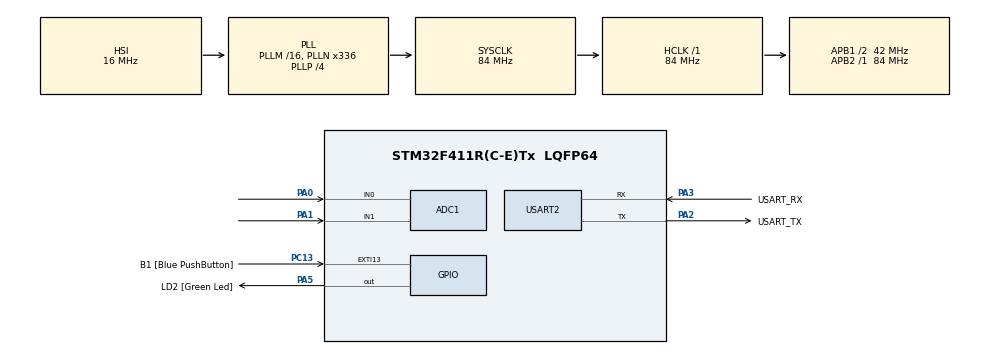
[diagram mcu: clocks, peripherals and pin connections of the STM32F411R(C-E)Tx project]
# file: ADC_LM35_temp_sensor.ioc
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ADC1.Channel-0\#ChannelRegularConversion=ADC_CHANNEL_0
ADC1.NbrOfConversionFlag=1
ADC1.Rank-0\#ChannelRegularConversion=1
ADC1.SamplingTime-0\#ChannelRegularConversion=ADC_SAMPLETIME_3CYCLES
ADC1.master=1
Mcu.Family=STM32F4
Mcu.Name=STM32F411R(C-E)Tx
Mcu.Package=LQFP64
NVIC.ADC_IRQn=true\:0\:0\:false\:false\:true\:true\:true\:true
NVIC.PriorityGroup=NVIC_PRIORITYGROUP_0
NVIC.TIM1_UP_TIM10_IRQn=true\:0\:0\:false\:false\:true\:true\:true\:true
NVIC.TIM2_IRQn=true\:0\:0\:false\:false\:true\:true\:true\:true
PA0-WKUP.Signal=ADCx_IN0
PA1.Signal=ADCx_IN1
PA13.GPIO_Label=TMS
PA13.Mode=Serial_Wire
PA13.Signal=SYS_JTMS-SWDIO
PA14.GPIO_Label=TCK
PA14.Mode=Serial_Wire
PA14.Signal=SYS_JTCK-SWCLK
PA2.GPIO_Label=USART_TX
PA2.Mode=Asynchronous
PA2.Signal=USART2_TX
PA3.GPIO_Label=USART_RX
PA3.Mode=Asynchronous
PA3.Signal=USART2_RX
PA5.GPIO_Label=LD2 [Green Led]
PA5.Signal=GPIO_Output
PB3.GPIO_Label=SWO
PB3.Signal=SYS_JTDO-SWO
PC13-ANTI_TAMP.GPIO_Label=B1 [Blue PushButton]
PC13-ANTI_TAMP.GPIO_ModeDefaultEXTI=GPIO_MODE_IT_FALLING
PC13-ANTI_TAMP.Signal=GPXTI13
PC14-OSC32_IN.Mode=LSE-External-Oscillator
PC14-OSC32_IN.Signal=RCC_OSC32_IN
PC15-OSC32_OUT.Mode=LSE-External-Oscillator
PC15-OSC32_OUT.Signal=RCC_OSC32_OUT
PH0\ -\ OSC_IN.Mode=HSE-External-Clock-Source
PH0\ -\ OSC_IN.Signal=RCC_OSC_IN
PH1\ -\ OSC_OUT.Mode=HSE-External-Clock-Source
PH1\ -\ OSC_OUT.Signal=RCC_OSC_OUT
ProjectManager.HeapSize=0x200
ProjectManager.StackSize=0x400
ProjectManager.TargetToolchain=STM32CubeIDE
RCC.48MHZClocksFreq_Value=84000000
RCC.AHBFreq_Value=84000000
RCC.APB1CLKDivider=RCC_HCLK_DIV2
RCC.APB1Freq_Value=42000000
RCC.APB1TimFreq_Value=84000000
RCC.APB2Freq_Value=84000000
RCC.APB2TimFreq_Value=84000000
RCC.CortexFreq_Value=84000000
RCC.FLatency-AdvancedSettings=FLASH_LATENCY_2
RCC.HCLKFreq_Value=84000000
RCC.HSE_VALUE=8000000
RCC.HSI_VALUE=16000000
RCC.PLLN=336
RCC.PLLP=RCC_PLLP_DIV4
RCC.SYSCLKFreq_VALUE=84000000
RCC.SYSCLKSource=RCC_SYSCLKSOURCE_PLLCLK
RCC.VCOOutputFreq_Value=336000000
SH.ADCx_IN0.0=ADC1_IN0,IN0
SH.ADCx_IN1.0=ADC1_IN1,IN1
TIM1.Period=10000
TIM1.Prescaler=41999
TIM2.Period=199999
TIM2.Prescaler=8399
USART2.VirtualMode=VM_ASYNC
VP_TIM1_VS_ClockSourceINT.Mode=Internal
VP_TIM2_VS_ClockSourceINT.Mode=Internal
board=NUCLEO-F411RE

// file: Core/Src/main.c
/* USER CODE BEGIN Header */
/**
  ******************************************************************************
  * @file           : main.c
  * @brief          : Main program body
  ******************************************************************************
  * @attention
  *
  * Copyright (c) 2025 STMicroelectronics.
  * All rights reserved.
  *
  * This software is licensed under terms that can be found in the LICENSE file
  * in the root directory of this software component.
  * If no LICENSE file comes with this software, it is provided AS-IS.
  *
  ******************************************************************************
  */
/* USER CODE END Header */
#include "main.h"

/* USER CODE BEGIN Includes */
#include <string.h>
#include <stdio.h>
/* USER CODE END Includes */

ADC_HandleTypeDef hadc1;

TIM_HandleTypeDef htim1;
TIM_HandleTypeDef htim2;

UART_HandleTypeDef huart2;

/* USER CODE BEGIN PV */
enum {
	SENSOR_LM35,
	SENSOR_POT
} current_sensor_t;

int current_sensor = 0;
/* USER CODE END PV */

void SystemClock_Config(void);
static void MX_GPIO_Init(void);
static void MX_USART2_UART_Init(void);
static void MX_ADC1_Init(void);
static void MX_TIM1_Init(void);
static void MX_TIM2_Init(void);

/* USER CODE BEGIN 0 */
int __io_putchar(int ch)
{
	HAL_UART_Transmit(&huart2, (uint8_t*)&ch, 1, 10);
	return ch;
}
/* USER CODE END 0 */

int main(void)
{

  /* MCU Configuration--------------------------------------------------------*/

  /* Reset of all peripherals, Initializes the Flash interface and the Systick. */
  HAL_Init();

  /* Configure the system clock */
  SystemClock_Config();

  /* Initialize all configured peripherals */
  MX_GPIO_Init();
  MX_USART2_UART_Init();
  MX_ADC1_Init();
  MX_TIM1_Init();
  MX_TIM2_Init();
  /* USER CODE BEGIN 2 */
  printf("Getting the temperature project ... \r\n");
  HAL_TIM_Base_Start_IT(&htim1);  // Start timer for the temp sensor
  HAL_TIM_Base_Start_IT(&htim2);  // Start timer for potentionmeter
  /* USER CODE END 2 */

  /* Infinite loop */
  /* USER CODE BEGIN WHILE */
  while (1)
  {
	HAL_Delay(1000);
	HAL_GPIO_TogglePin(GPIOA, GPIO_PIN_5);
    /* USER CODE END WHILE */

  }
}

void SystemClock_Config(void)
{
  RCC_OscInitTypeDef RCC_OscInitStruct = {0};
  RCC_ClkInitTypeDef RCC_ClkInitStruct = {0};

  /** Configure the main internal regulator output voltage
  */
  __HAL_RCC_PWR_CLK_ENABLE();
  __HAL_PWR_VOLTAGESCALING_CONFIG(PWR_REGULATOR_VOLTAGE_SCALE1);

  /** Initializes the RCC Oscillators according to the specified parameters
  * in the RCC_OscInitTypeDef structure.
  */
  RCC_OscInitStruct.OscillatorType = RCC_OSCILLATORTYPE_HSI;
  RCC_OscInitStruct.HSIState = RCC_HSI_ON;
  RCC_OscInitStruct.HSICalibrationValue = RCC_HSICALIBRATION_DEFAULT;
  RCC_OscInitStruct.PLL.PLLState = RCC_PLL_ON;
  RCC_OscInitStruct.PLL.PLLSource = RCC_PLLSOURCE_HSI;
  RCC_OscInitStruct.PLL.PLLM = 16;
  RCC_OscInitStruct.PLL.PLLN = 336;
  RCC_OscInitStruct.PLL.PLLP = RCC_PLLP_DIV4;
  RCC_OscInitStruct.PLL.PLLQ = 4;
  if (HAL_RCC_OscConfig(&RCC_OscInitStruct) != HAL_OK)
  {
    Error_Handler();
  }

  /** Initializes the CPU, AHB and APB buses clocks
  */
  RCC_ClkInitStruct.ClockType = RCC_CLOCKTYPE_HCLK|RCC_CLOCKTYPE_SYSCLK
                              |RCC_CLOCKTYPE_PCLK1|RCC_CLOCKTYPE_PCLK2;
  RCC_ClkInitStruct.SYSCLKSource = RCC_SYSCLKSOURCE_PLLCLK;
  RCC_ClkInitStruct.AHBCLKDivider = RCC_SYSCLK_DIV1;
  RCC_ClkInitStruct.APB1CLKDivider = RCC_HCLK_DIV2;
  RCC_ClkInitStruct.APB2CLKDivider = RCC_HCLK_DIV1;

  if (HAL_RCC_ClockConfig(&RCC_ClkInitStruct, FLASH_LATENCY_2) != HAL_OK)
  {
    Error_Handler();
  }
}

static void MX_ADC1_Init(void)
{

  ADC_ChannelConfTypeDef sConfig = {0};

  /** Configure the global features of the ADC (Clock, Resolution, Data Alignment and number of conversion)
  */
  hadc1.Instance = ADC1;
  hadc1.Init.ClockPrescaler = ADC_CLOCK_SYNC_PCLK_DIV4;
  hadc1.Init.Resolution = ADC_RESOLUTION_12B;
  hadc1.Init.ScanConvMode = DISABLE;
  hadc1.Init.ContinuousConvMode = DISABLE;
  hadc1.Init.DiscontinuousConvMode = DISABLE;
  hadc1.Init.ExternalTrigConvEdge = ADC_EXTERNALTRIGCONVEDGE_NONE;
  hadc1.Init.ExternalTrigConv = ADC_SOFTWARE_START;
  hadc1.Init.DataAlign = ADC_DATAALIGN_RIGHT;
  hadc1.Init.NbrOfConversion = 1;
  hadc1.Init.DMAContinuousRequests = DISABLE;
  hadc1.Init.EOCSelection = ADC_EOC_SINGLE_CONV;
  if (HAL_ADC_Init(&hadc1) != HAL_OK)
  {
    Error_Handler();
  }

  /** Configure for the selected ADC regular channel its corresponding rank in the sequencer and its sample time.
  */
  sConfig.Channel = ADC_CHANNEL_0;
  sConfig.Rank = 1;
  sConfig.SamplingTime = ADC_SAMPLETIME_3CYCLES;
  if (HAL_ADC_ConfigChannel(&hadc1, &sConfig) != HAL_OK)
  {
    Error_Handler();
  }

}

static void MX_TIM1_Init(void)
{

  TIM_ClockConfigTypeDef sClockSourceConfig = {0};
  TIM_MasterConfigTypeDef sMasterConfig = {0};

  htim1.Instance = TIM1;
  htim1.Init.Prescaler = 41999;
  htim1.Init.CounterMode = TIM_COUNTERMODE_UP;
  htim1.Init.Period = 20000;
  htim1.Init.ClockDivision = TIM_CLOCKDIVISION_DIV1;
  htim1.Init.RepetitionCounter = 0;
  htim1.Init.AutoReloadPreload = TIM_AUTORELOAD_PRELOAD_DISABLE;
  if (HAL_TIM_Base_Init(&htim1) != HAL_OK)
  {
    Error_Handler();
  }
  sClockSourceConfig.ClockSource = TIM_CLOCKSOURCE_INTERNAL;
  if (HAL_TIM_ConfigClockSource(&htim1, &sClockSourceConfig) != HAL_OK)
  {
    Error_Handler();
  }
  sMasterConfig.MasterOutputTrigger = TIM_TRGO_RESET;
  sMasterConfig.MasterSlaveMode = TIM_MASTERSLAVEMODE_DISABLE;
  if (HAL_TIMEx_MasterConfigSynchronization(&htim1, &sMasterConfig) != HAL_OK)
  {
    Error_Handler();
  }

}

static void MX_TIM2_Init(void)
{

  TIM_ClockConfigTypeDef sClockSourceConfig = {0};
  TIM_MasterConfigTypeDef sMasterConfig = {0};

  htim2.Instance = TIM2;
  htim2.Init.Prescaler = 8399;
  htim2.Init.CounterMode = TIM_COUNTERMODE_UP;
  htim2.Init.Period = 199999;
  htim2.Init.ClockDivision = TIM_CLOCKDIVISION_DIV1;
  htim2.Init.AutoReloadPreload = TIM_AUTORELOAD_PRELOAD_DISABLE;
  if (HAL_TIM_Base_Init(&htim2) != HAL_OK)
  {
    Error_Handler();
  }
  sClockSourceConfig.ClockSource = TIM_CLOCKSOURCE_INTERNAL;
  if (HAL_TIM_ConfigClockSource(&htim2, &sClockSourceConfig) != HAL_OK)
  {
    Error_Handler();
  }
  sMasterConfig.MasterOutputTrigger = TIM_TRGO_RESET;
  sMasterConfig.MasterSlaveMode = TIM_MASTERSLAVEMODE_DISABLE;
  if (HAL_TIMEx_MasterConfigSynchronization(&htim2, &sMasterConfig) != HAL_OK)
  {
    Error_Handler();
  }

}

static void MX_USART2_UART_Init(void)
{

  huart2.Instance = USART2;
  huart2.Init.BaudRate = 115200;
  huart2.Init.WordLength = UART_WORDLENGTH_8B;
  huart2.Init.StopBits = UART_STOPBITS_1;
  huart2.Init.Parity = UART_PARITY_NONE;
  huart2.Init.Mode = UART_MODE_TX_RX;
  huart2.Init.HwFlowCtl = UART_HWCONTROL_NONE;
  huart2.Init.OverSampling = UART_OVERSAMPLING_16;
  if (HAL_UART_Init(&huart2) != HAL_OK)
  {
    Error_Handler();
  }

}

static void MX_GPIO_Init(void)
{
  GPIO_InitTypeDef GPIO_InitStruct = {0};

  /* GPIO Ports Clock Enable */
  __HAL_RCC_GPIOC_CLK_ENABLE();
  __HAL_RCC_GPIOH_CLK_ENABLE();
  __HAL_RCC_GPIOA_CLK_ENABLE();
  __HAL_RCC_GPIOB_CLK_ENABLE();

  /*Configure GPIO pin Output Level */
  HAL_GPIO_WritePin(LD2_GPIO_Port, LD2_Pin, GPIO_PIN_RESET);

  /*Configure GPIO pin : B1_Pin */
  GPIO_InitStruct.Pin = B1_Pin;
  GPIO_InitStruct.Mode = GPIO_MODE_IT_FALLING;
  GPIO_InitStruct.Pull = GPIO_NOPULL;
  HAL_GPIO_Init(B1_GPIO_Port, &GPIO_InitStruct);

  /*Configure GPIO pin : LD2_Pin */
  GPIO_InitStruct.Pin = LD2_Pin;
  GPIO_InitStruct.Mode = GPIO_MODE_OUTPUT_PP;
  GPIO_InitStruct.Pull = GPIO_NOPULL;
  GPIO_InitStruct.Speed = GPIO_SPEED_FREQ_LOW;
  HAL_GPIO_Init(LD2_GPIO_Port, &GPIO_InitStruct);

}

/* USER CODE BEGIN 4 */
void read_adc_channel(uint32_t channel)
{
    ADC_ChannelConfTypeDef sConfig = {0};
    sConfig.Channel = channel;
    sConfig.Rank = 1;
    sConfig.SamplingTime = ADC_SAMPLETIME_15CYCLES;
    HAL_ADC_ConfigChannel(&hadc1, &sConfig);
    HAL_ADC_Start_IT(&hadc1);
}

void HAL_TIM_PeriodElapsedCallback(TIM_HandleTypeDef *htim)
{
    if(htim->Instance == TIM2)
    {
    	read_adc_channel(ADC_CHANNEL_1);
    	current_sensor = SENSOR_POT;
        printf("timer 2 CB called\r\n");
    }

    if(htim->Instance == TIM1)
    {
    	read_adc_channel(ADC_CHANNEL_0);
    	current_sensor = SENSOR_LM35;
        printf("timer 1 CB called\r\n");
    }

}

void HAL_ADC_ConvCpltCallback(ADC_HandleTypeDef* hadc) {
    if (hadc->Instance == ADC1) {
        uint32_t adc_raw = HAL_ADC_GetValue(hadc);
        float voltage = (adc_raw * 3.3f) / 4095.0f;

        if(current_sensor == SENSOR_LM35) {
        	float temperature = voltage * 100.0f;
        	printf("[T%lu] Temp: %.2f C\r\n", HAL_GetTick(), temperature);
        } else if(current_sensor == SENSOR_POT) {
        	printf("[T%lu] Voltage: %.2f V\r\n", HAL_GetTick(), voltage);
        }

    }
}

/* USER CODE END 4 */

void Error_Handler(void)
{
  __disable_irq();
  while (1)
  {
  }
}
